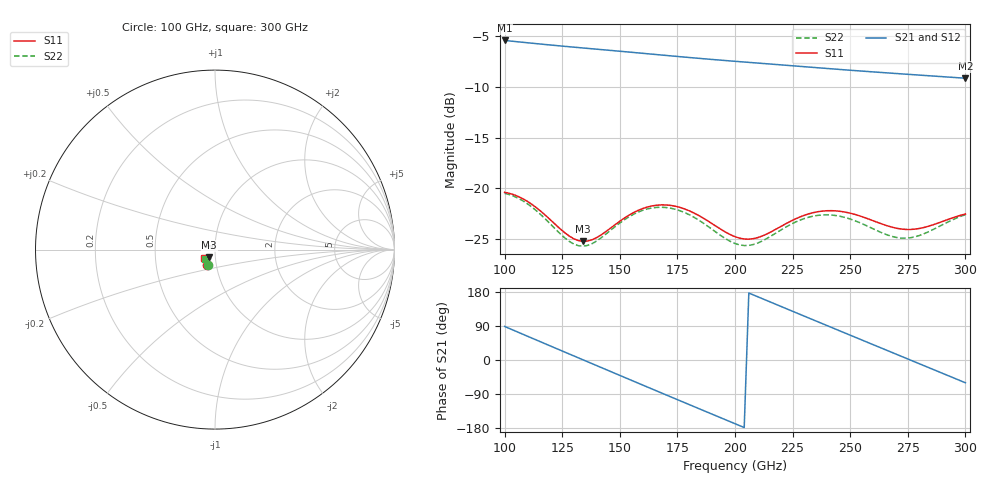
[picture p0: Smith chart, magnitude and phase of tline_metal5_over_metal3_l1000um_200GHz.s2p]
#  GHZ S DB R 50
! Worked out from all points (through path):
!   101 points, 100 GHz to 300 GHz, reference 50 ohm
!   highest |S21| = -5.42 dB at 100 GHz (marker M1); lowest = -9.1 dB at 300 GHz (marker M2)
!   group delay of S21, straight-line fit = 7.06 ps
!   lowest |S11| = -25.2 dB at 134 GHz (marker M3), VSWR 1.12, Z = 46.6 - j4.1 ohm
!   |S11| at or under -10 dB: start of sweep to end of sweep
!   |S22| runs from -25.7 to -20.5 dB; largest |S21 - S12| = 6e-14
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100  -20.39 -117.2  -5.42 88.6  -5.42 88.6  -20.49 -116.2
108  -21.03 -127.8  -5.60 67.8  -5.60 67.8  -21.23 -127.0
118  -22.71 -136.2  -5.82 41.8  -5.82 41.8  -23.08 -135.3
126  -24.35 -135.4  -5.99 21.2  -5.99 21.2  -24.85 -133.7
134  -25.22 -126.9  -6.16 0.6  -6.16 0.6  -25.69 -123.8
142  -24.56 -118.5  -6.32 -20.0  -6.32 -20.0  -24.85 -115.0
152  -22.92 -118.1  -6.52 -45.8  -6.52 -45.8  -23.09 -115.5
160  -21.98 -123.8  -6.68 -66.3  -6.68 -66.3  -22.15 -121.9
168  -21.62 -131.7  -6.85 -86.8  -6.85 -86.8  -21.86 -130.3
182  -22.40 -144.2  -7.13 -122.4  -7.13 -122.4  -22.82 -143.3
192  -23.76 -147.4  -7.32 -147.8  -7.32 -147.8  -24.35 -146.0
200  -24.76 -143.8  -7.47 -168.1  -7.47 -168.1  -25.43 -141.2
208  -24.95 -136.7  -7.61 171.6  -7.61 171.6  -25.53 -132.9
216  -24.24 -131.6  -7.75 151.4  -7.75 151.4  -24.65 -127.7
226  -23.03 -132.1  -7.93 126.1  -7.93 126.1  -23.35 -129.0
234  -22.39 -136.4  -8.07 105.8  -8.07 105.8  -22.73 -134.0
242  -22.19 -141.9  -8.21 85.7  -8.21 85.7  -22.63 -139.9
250  -22.44 -146.8  -8.35 65.5  -8.35 65.5  -23.02 -145.0
260  -23.19 -150.0  -8.52 40.4  -8.52 40.4  -23.99 -147.4
268  -23.81 -148.9  -8.64 20.3  -8.64 20.3  -24.72 -144.5
284  -23.73 -141.8  -8.89 -19.9  -8.89 -19.9  -24.27 -134.0
300  -22.52 -143.2  -9.14 -60.0  -9.14 -60.0  -22.59 -136.1
